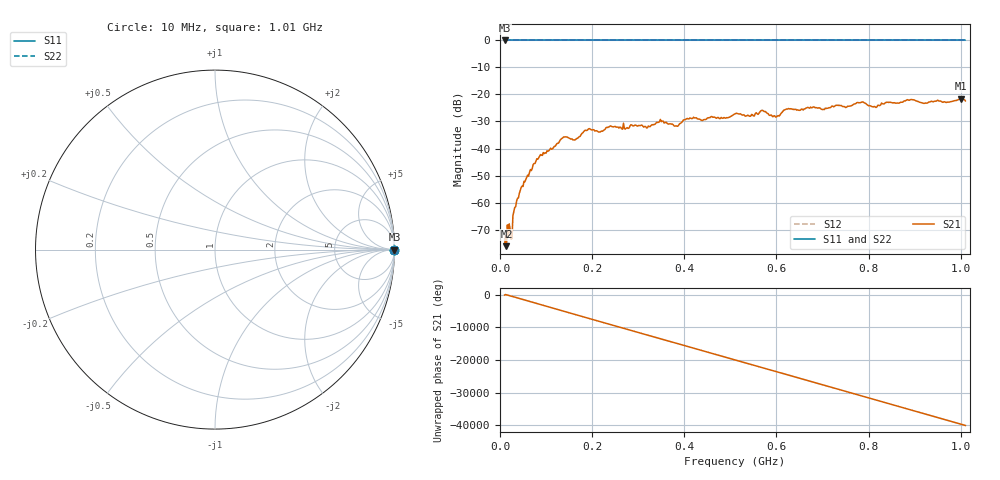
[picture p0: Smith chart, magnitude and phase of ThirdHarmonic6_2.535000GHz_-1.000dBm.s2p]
! 8/17/2025 5:05:02 AM
! C:\ANRITSUVNA\TEMP\TEMP.S2P
! CHANNEL.1
! TR.MEASUREMENT
! RAW.DATA
! RF.CORRECTION.OFF
! AVERAGING.OFF
! IF.BANDWIDTH: 5KHZ
! SWEEPTYPE:  FREQ.SWEEP(Linear)
! Reference Plane Port Info
! PORT:  PORT1  PORT2
! DISTANCE:  0  m  0  m
! TIME:  0  s  0  s
! PHASE.OFFSET:  0  deg.  0  deg.
! LOSS:  0  dB  0  dB
! REF.LOSS:  0  dB  0  dB
! REF.FREQ:  0  Hz  0  Hz
! Power Info
! POWER:  -20  dBm  -20  dBm
! EFF.POWER:  -20  dBm  -20  dBm
! SOURCE.ATTEN:  0  dB  0  dB
! TEST.ATTEN:  0  dB  0  dB
# GHZ S RI R 50.0
! FREQ.GHZ  S11RE  S11IM  S21RE  S21IM  S12RE  S12IM  S22RE  S22IM
!; PortSelection: Port_12
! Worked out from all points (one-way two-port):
!   501 points, 10 MHz to 1.01 GHz, reference 50 ohm
!   highest |S21| = -21.50 dB at 1 GHz (marker M1); lowest = -76.2 dB at 14 MHz (marker M2)
!   lowest |S11| = 0.0 dB at 10 MHz (marker M3)
!   |S11| at or under -10 dB: nowhere
!   |S22| runs from 0.0 to 0.0 dB; largest |S21 - S12| = 1.1
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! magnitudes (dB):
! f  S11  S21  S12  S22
! 10 MHz  0.0  -75.7  0.0  0.0
! 14 MHz  0.0  -76.2  0.0  0.0
! 20 MHz  0.0  -67.9  0.0  0.0
! 22 MHz  0.0  -69.9  0.0  0.0
! 28 MHz  0.0  -64.9  0.0  0.0
! 32 MHz  0.0  -61.8  0.0  0.0
! 44 MHz  0.0  -55.5  0.0  0.0
! 76 MHz  0.0  -45.5  0.0  0.0
! 136 MHz  0.0  -36.1  0.0  0.0
! 162 MHz  0.0  -36.8  0.0  0.0
! 178 MHz  0.0  -34.4  0.0  0.0
! 344 MHz  0.0  -30.3  0.0  0.0
! 382 MHz  0.0  -31.6  0.0  0.0
! 408 MHz  0.0  -29.0  0.0  0.0
! 510 MHz  0.0  -27.2  0.0  0.0
! 570 MHz  0.0  -25.9  0.0  0.0
! 602 MHz  0.0  -28.0  0.0  0.0
! 622 MHz  0.0  -25.4  0.0  0.0
! 678 MHz  0.0  -24.8  0.0  0.0
! 844 MHz  0.0  -23.0  0.0  0.0
! 1 GHz  0.0  -21.5  0.0  0.0
! 1.01 GHz  0.0  -22.4  0.0  0.0
